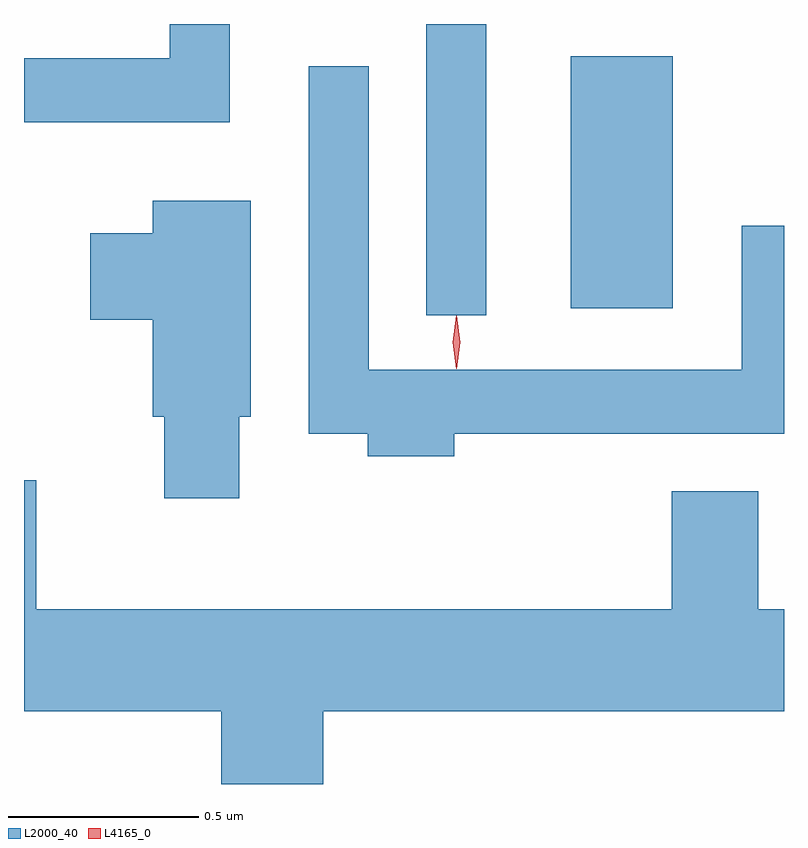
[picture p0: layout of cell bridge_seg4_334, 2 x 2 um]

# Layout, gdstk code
import gdstk
lib = gdstk.Library(unit=1e-6, precision=1e-09)
def R(c, l, rs):  # rectangles x0, y0, x1, y1
    for r in rs: c.add(gdstk.rectangle(r[:2], r[2:], *l))
def P(c, l, *ps):  # polygons
    for p in ps: c.add(gdstk.Polygon(p, *l))
L2000_40 = (2000, 40)
L4165_0 = (4165, 0)

bridge_seg4_334 = lib.new_cell('bridge_seg4_334')
R(bridge_seg4_334, L2000_40, [(675.156,1269.138,675.314,1269.904), (675.536,1269.156,675.804,1269.819)])
P(bridge_seg4_334, L2000_40, [(674.639,1269.904),(674.481,1269.904),(674.481,1269.814),(674.097,1269.814),(674.097,1269.646),(674.639,1269.646)],
  [(675.229,1268.826),(676.097,1268.826),(676.097,1269.373),(675.986,1269.373),(675.986,1268.994),(675.004,1268.994),(675.004,1269.793),(674.846,1269.793),(674.846,1268.826),(675.001,1268.826),(675.001,1268.766),(675.229,1268.766)],
  [(674.664,1268.871),(674.694,1268.871),(674.694,1269.439),(674.436,1269.439),(674.436,1269.354),(674.271,1269.354),(674.271,1269.126),(674.436,1269.126),(674.436,1268.871),(674.466,1268.871),(674.466,1268.656),(674.664,1268.656)],
  [(674.884,1268.096),(676.097,1268.096),(676.097,1268.364),(676.029,1268.364),(676.029,1268.674),(675.801,1268.674),(675.801,1268.364),(674.129,1268.364),(674.129,1268.704),(674.097,1268.704),(674.097,1268.096),(674.616,1268.096),(674.616,1267.904),(674.884,1267.904)])
P(bridge_seg4_334, L4165_0, [(675.235,1268.997),(675.235,1268.997),(675.225,1269.067),(675.235,1269.136),(675.235,1269.136),(675.236,1269.136),(675.245,1269.067),(675.236,1268.997)],
  [(675.235,1269),(675.226,1269.066),(675.235,1269.132),(675.235,1269.133),(675.236,1269.132),(675.245,1269.066),(675.236,1269),(675.236,1269)])

lib.write_gds('bridge_seg4_334.gds')
